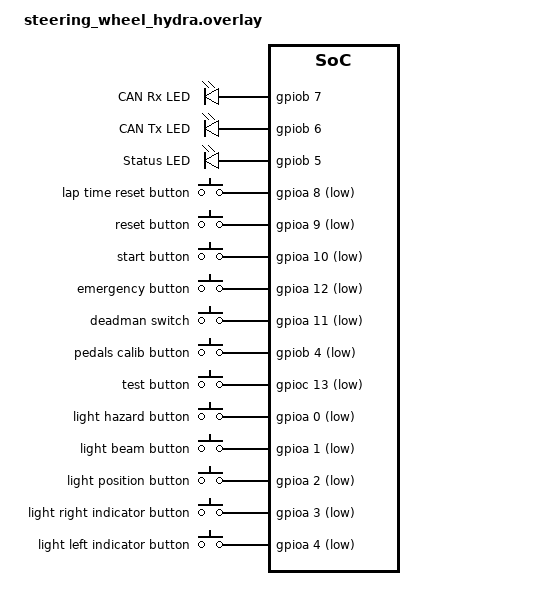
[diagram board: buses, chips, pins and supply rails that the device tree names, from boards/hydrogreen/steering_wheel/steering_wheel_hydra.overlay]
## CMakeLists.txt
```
cmake_minimum_required(VERSION 3.20.0)

if(NOT DEFINED BOARD)
    set(BOARD steering_wheel CACHE STRING "Zephyr target board")
    message(STATUS "BOARD not defined externally, using default: ${BOARD}")
endif()

if(NOT DEFINED BOARD_ROOT)
    set(BOARD_ROOT ${CMAKE_CURRENT_SOURCE_DIR} CACHE PATH "Root directory for custom boards")
    message(STATUS "BOARD_ROOT not defined externally, using default: ${BOARD_ROOT}")
endif()

set(VEHICLE_TYPE "hydra" CACHE STRING "Steering wheel hardware variant")

if(VEHICLE_TYPE STREQUAL "hydra")
    set(DTC_OVERLAY_FILE
            "${CMAKE_CURRENT_SOURCE_DIR}/boards/hydrogreen/steering_wheel/steering_wheel_hydra.overlay"
    )
    set(VEHICLE_TYPE_DEFINE HYDRA)
elseif(VEHICLE_TYPE STREQUAL "hydros")
    set(DTC_OVERLAY_FILE
            "${CMAKE_CURRENT_SOURCE_DIR}/boards/hydrogreen/steering_wheel/steering_wheel_hydros.overlay"
    )
    set(VEHICLE_TYPE_DEFINE HYDROS)
else()
    message(FATAL_ERROR "Unknown VEHICLE_TYPE: ${VEHICLE_TYPE}")
endif()

find_package(Zephyr REQUIRED HINTS $ENV{ZEPHYR_BASE})
project(app LANGUAGES C)

zephyr_compile_definitions(
        VEHICLE_TYPE=${VEHICLE_TYPE_DEFINE}
        LV_FONT_MONTSERRAT_18=1
        LV_FONT_MONTSERRAT_26=1
        LV_FONT_MONTSERRAT_30=1
)

target_sources(app PRIVATE
        src/main.c
        src/steering_wheel_inputs.c
        src/steering_wheel_can.c
        src/steering_wheel_display.c
        ${CMAKE_SOURCE_DIR}/../modules/peripherals/can.c
#        peripherals/can_dfu.c
        ${CMAKE_SOURCE_DIR}/../modules/peripherals/gpio.c
        ${CMAKE_SOURCE_DIR}/../modules/peripherals/adc.c
        ${CMAKE_SOURCE_DIR}/../modules/peripherals/pwm.c
        ${CMAKE_SOURCE_DIR}/../modules/peripherals/counter.c
        ${CMAKE_SOURCE_DIR}/../modules/peripherals/uart.c
        ${CMAKE_SOURCE_DIR}/../modules/peripherals/rs485.c
        ${CMAKE_SOURCE_DIR}/../modules/peripherals/status_led.c
        ${CMAKE_SOURCE_DIR}/../modules/can-definitions/candef.c
        ui/ui.c
        ui/screens.c
        ui/styles.c
)

target_include_directories(app PRIVATE
        ${CMAKE_SOURCE_DIR}/../modules/can-definitions
        ${CMAKE_SOURCE_DIR}/../modules/peripherals
        ${CMAKE_SOURCE_DIR}/../modules/peripherals/include
        src
        ui
)
```

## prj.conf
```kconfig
# Project specific config
CONFIG_GPIO=y
CONFIG_LED=y
CONFIG_CAN=y
CONFIG_CAN_FD_MODE=n
CONFIG_CAN_MANUAL_RECOVERY_MODE=y
CONFIG_DMA=y
CONFIG_SPI=y
CONFIG_DISPLAY=y
CONFIG_LVGL=y
CONFIG_LV_Z_MEM_POOL_SIZE=32768
CONFIG_ILI9341=y
CONFIG_LV_COLOR_DEPTH_16=y
CONFIG_LV_COLOR_16_SWAP=y
CONFIG_INPUT=y
CONFIG_INPUT_GPIO_KEYS=y
CONFIG_INPUT_LONGPRESS=y

CONFIG_NANOPB=y

# System settings
CONFIG_HEAP_MEM_POOL_SIZE=16384
CONFIG_MAIN_STACK_SIZE=4096

# Debugging, tracing and logging settings
CONFIG_SERIAL=y
CONFIG_LOG=y
CONFIG_LOG_MODE_IMMEDIATE=y
CONFIG_LOG_DEFAULT_LEVEL=3
CONFIG_LOG_BACKEND_RTT=y
CONFIG_USE_SEGGER_RTT=y
CONFIG_SEGGER_RTT_BUFFER_SIZE_UP=16384
CONFIG_LOG_BACKEND_RTT_MODE_DROP=y

# CONFIG_TRACING=y
# CONFIG_TRACING_BACKEND_RAM=y
# CONFIG_TRACING_GPIO=n
# CONFIG_TRACING_SYSCALL=y
CONFIG_SEGGER_SYSTEMVIEW=n
CONFIG_SEGGER_SYSTEMVIEW_BOOT_ENABLE=n
CONFIG_SEGGER_SYSVIEW_POST_MORTEM_MODE=n

CONFIG_DEBUG=y
CONFIG_DEBUG_OPTIMIZATIONS=y
CONFIG_THREAD_ANALYZER=y
CONFIG_THREAD_NAME=y

# CONFIG_CONSOLE=y
# CONFIG_UART_CONSOLE=y
# CONFIG_LOG_PRINTK=y
# CONFIG_PRINTK=y
# CONFIG_LOG_BACKEND_SWO=y
# CONFIG_LOG_BUFFER_SIZE=2048
# CONFIG_LOG_MODE_DEFERRED=y
# CONFIG_LOG_BACKEND_UART=n
# CONFIG_STDOUT_CONSOLE=y
```

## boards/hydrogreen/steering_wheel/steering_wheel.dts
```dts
/dts-v1/;
#include <st/g4/stm32g491Xe.dtsi>
#include <st/g4/stm32g491c(c-e)tx-pinctrl.dtsi>
#include <zephyr/dt-bindings/display/panel.h>
#include <zephyr/dt-bindings/mipi_dbi/mipi_dbi.h>
#include <zephyr/dt-bindings/led/led.h>
#include <zephyr/dt-bindings/input/input-event-codes.h>

/ {
	model = "Hydrogreen Steering wheel board";
	compatible = "hydrogreen,steering-wheel";

	aliases {
		can-rx-led = &can_rx_led;
		can-tx-led = &can_tx_led;
		can = &fdcan2;
		button-emergency = &button_emergency;
		button-start = &button_start;
		button-reset = &button_reset;
		button-lap-time = &button_lap_time;
		button-deadman = &button_deadman;
		button-test = &button_test;
		watchdog0 = &iwdg;
		die-temp0 = &die_temp;
		volt-sensor0 = &vref;
		volt-sensor1 = &vbat;
	};

	chosen {
		zephyr,display = &ili9341;
		zephyr,sram = &sram0;
		zephyr,flash = &flash0;
		zephyr,canbus = &fdcan2;
		zephyr,code-partition = &slot0_partition;
	};

	mipi_dbi {
		compatible = "zephyr,mipi-dbi-spi";
		spi-dev = <&spi1>;
		dc-gpios = <&gpiob 2 GPIO_ACTIVE_HIGH>;
		reset-gpios = <&gpiob 1 GPIO_ACTIVE_LOW>;
		write-only;
		#address-cells = <1>;
		#size-cells = <0>;
		status = "okay";

		ili9341: ili9341@0 {
			compatible = "ilitek,ili9341";
			mipi-max-frequency = <24000000>;
			reg = <0>;
			pixel-format = <PANEL_PIXEL_FORMAT_RGB_565>;
			//display-inversion;
			rotation = <270>;
			width = <240>;
			height = <320>;

			status = "okay";

		};
	};
};


&gpioa {
	status = "okay";
};

&gpiob {
	status = "okay";
};


&clk_lsi {
	status = "okay";
};

&clk_hsi48 {
	status = "okay";
};

//&clk_hse {
//	clock-frequency = <DT_FREQ_M(24)>;
//	status = "okay";
//};

&clk_hsi {
	//	clock-frequency = <DT_FREQ_M(16)>;
	status = "okay";
};

&pll {
	div-m = <1>;
	mul-n = <10>;
	div-p = <2>;
	div-q = <2>;
	div-r = <2>;
	clocks = <&clk_hsi>;
	status = "okay";
};

&rcc {
	clocks = <&pll>;
	clock-frequency = <DT_FREQ_M(80)>;
	ahb-prescaler = <1>;
	apb1-prescaler = <1>;
	apb2-prescaler = <1>;
};

// reference manual page 420 (dmamux)
//&usart1 {
//	pinctrl-0 = <&usart1_tx_pa9 &usart1_rx_pa10>;
//	pinctrl-names = "default";
//	current-speed = <115200>;
//	status = "okay";
//	dmas = <&dmamux1 2 25 STM32_DMA_PERIPH_TX>,
//		   <&dmamux1 1 24 STM32_DMA_PERIPH_RX>;
//	dma-names = "tx", "rx";
//};

&dma1 {
	status = "okay";
};

&dmamux1 {
	status = "okay";
};

&spi1 {
	pinctrl-0 = <&spi1_sck_pa5 &spi1_miso_pa6 &spi1_mosi_pa7>;
	pinctrl-names = "default";
	cs-gpios = <&gpiob 0 (GPIO_ACTIVE_LOW | GPIO_PULL_UP)>;

	dmas = <&dma1 1 11 (STM32_DMA_PERIPH_TX | STM32_DMA_PRIORITY_HIGH)>,
		   <&dma1 2 10 (STM32_DMA_PERIPH_RX | STM32_DMA_PRIORITY_HIGH)>;
	dma-names = "tx", "rx";

	status = "okay";
//
//	ili9341: display@0 {
//		compatible = "ilitek,ili9341";
//		reg = <0>;
//
//		spi-max-frequency = <24000000>;
//		mipi-max-frequency = <24000000>;
//		mipi-mode = "MIPI_DBI_MODE_SPI_4WIRE";
//
//		duplex = <0>;
//		frame-format = <0>;
//
//		width = <240>;
//		height = <320>;
//		pixel-format = <PANEL_PIXEL_FORMAT_RGB_565>;
//
//		cmd-data-gpios = <&gpiob 2 GPIO_ACTIVE_HIGH>;
//		reset-gpios = <&gpiob 1 GPIO_ACTIVE_LOW>;
//
//		rotation = <90>;
//		display-inversion;
//		status = "okay";
//	};
};

//&timers2 {
//	status = "okay";
//
//	pwm2: pwm {
//		status = "okay";
//		pinctrl-0 = <&tim2_ch1_pa5>;
//		pinctrl-names = "default";
//	};
//};
//
//&timers3 {
//	st,prescaler = <10000>;
//	status = "okay";
//	pwm3: pwm {
//		status = "okay";
//		pinctrl-0 = <&tim3_ch1_pb4>;
//		pinctrl-names = "default";
//	};
//};

&lptim1 {
	clocks = <&rcc STM32_CLOCK_BUS_APB1 0x80000000>,
			 <&rcc STM32_SRC_LSI LPTIM1_SEL(1)>;
	status = "okay";
};

&rtc {
	clocks = <&rcc STM32_CLOCK_BUS_APB1 0x00000400>,
			 <&rcc STM32_SRC_LSI RTC_SEL(2)>;
	status = "okay";
};

&flash0 {
	erase-block-size = <2048>;
	partitions {
		compatible = "fixed-partitions";
		#address-cells = <1>;
		#size-cells = <1>;

		boot_partition: partition@0 {
			label = "mcuboot";
			reg = <0x00000000 DT_SIZE_K(40)>;
		};
		slot0_partition: partition@a000 {
			label = "image-0";
			reg = <0x0000a000 DT_SIZE_K(234)>;
		};
		slot1_partition: partition@44800 {
			label = "image-1";
			reg = <0x00044800 DT_SIZE_K(234)>;
		};
		/* Set 4Kb of storage at the end of the 512Kb of flash */
		storage_partition: partition@7f000 {
			label = "storage";
			reg = <0x0007f000 DT_SIZE_K(4)>;
		};
	};
};

&iwdg {
	status = "okay";
};

&rng {
	status = "okay";
};


&die_temp {
	status = "okay";
};

//&fdcan1 {
//	clocks = <&rcc STM32_CLOCK_BUS_APB1 0x02000000>,
//			 <&rcc STM32_SRC_HSE FDCAN_SEL(0)>;
//	pinctrl-0 = <&fdcan1_rx_pa11 &fdcan1_tx_pa12>;
//	pinctrl-names = "default";
//	status = "okay";
//};

&fdcan2 {
	clocks = <&rcc STM32_CLOCK_BUS_APB1 0x02000000>,
			 <&rcc STM32_SRC_PLL_Q FDCAN_SEL(1)>;
	pinctrl-0 = <&fdcan2_rx_pb12 &fdcan2_tx_pb13>;
	pinctrl-names = "default";
	status = "okay";
};

&vref {
	status = "okay";
};

&vbat {
	status = "okay";
};
```

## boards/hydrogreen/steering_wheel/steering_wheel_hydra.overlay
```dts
/ {
	aliases {
		status-led = &status_led;
		button-pedals-calib = &button_pedals_calib;
		button-light-hazard = &button_light_hazard;
		button-light-beam = &button_light_beam;
		button-light-position = &button_light_position;
		button-light-right-indicator = &button_light_right_indicator;
		button-light-left-indicator = &button_light_left_indicator;
	};

	leds {
		compatible = "gpio-leds";
		can_rx_led: led_pb7 {
			gpios = <&gpiob 7 GPIO_ACTIVE_HIGH>;
			label = "CAN Rx LED";
		};
		can_tx_led: led_pb6 {
			gpios = <&gpiob 6 GPIO_ACTIVE_HIGH>;
			label = "CAN Tx LED";
		};
		status_led: led_pb5 {
			gpios = <&gpiob 5 GPIO_ACTIVE_HIGH>;
			label = "Status LED";
		};
	};

	buttons: buttons {
		compatible = "gpio-keys";
		debounce-interval-ms = <30>;
		button_lap_time: button_pa8 {
			gpios = <&gpioa 8 (GPIO_ACTIVE_LOW | GPIO_PULL_UP)>;
			label = "lap time reset button";
			zephyr,code = <INPUT_KEY_0>;
		};
		button_reset: button_pa9 {
			gpios = <&gpioa 9 (GPIO_ACTIVE_LOW | GPIO_PULL_UP)>;
			label = "reset button";
			zephyr,code = <INPUT_KEY_1>;
		};
		button_start: button_pa10 {
			gpios = <&gpioa 10 (GPIO_ACTIVE_LOW | GPIO_PULL_UP)>;
			label = "start button";
			zephyr,code = <INPUT_KEY_2>;
		};
		button_emergency: button_pa12 {
			gpios = <&gpioa 12 (GPIO_ACTIVE_LOW | GPIO_PULL_UP)>;
			label = "emergency button";
			zephyr,code = <INPUT_KEY_3>;
		};
		button_deadman: button_pa11 {
			gpios = <&gpioa 11 (GPIO_ACTIVE_LOW | GPIO_PULL_UP)>;
			label = "deadman switch";
			zephyr,code = <INPUT_KEY_4>;
		};
		button_pedals_calib: button_pb4 {
			gpios = <&gpiob 4 (GPIO_ACTIVE_LOW | GPIO_PULL_UP)>;
			label = "pedals calib button";
			zephyr,code = <INPUT_KEY_5>;
		};
		/* test button - already connected on pcb */
		button_test: button_pc13 {
			gpios = <&gpioc 13 (GPIO_ACTIVE_LOW | GPIO_PULL_UP)>;
			label = "test button";
			zephyr,code = <INPUT_KEY_6>;
		};
	};

	buttons_lights: buttons_lights{
		compatible = "gpio-keys";
		debounce-interval-ms = <30>;
		button_light_hazard: button_pa0 {
			gpios = <&gpioa 0 (GPIO_ACTIVE_LOW | GPIO_PULL_UP)>;
			label = "light hazard button";
			zephyr,code = <INPUT_KEY_7>;
		};
		button_light_beam: button_pa1 {
			gpios = <&gpioa 1 (GPIO_ACTIVE_LOW | GPIO_PULL_UP)>;
			label = "light beam button";
			zephyr,code = <INPUT_KEY_8>;
		};
		button_light_position: button_pa2 {
			gpios = <&gpioa 2 (GPIO_ACTIVE_LOW | GPIO_PULL_UP)>;
			label = "light position button";
			zephyr,code = <INPUT_KEY_9>;
		};
		button_light_right_indicator: button_pa3 {
			gpios = <&gpioa 3 (GPIO_ACTIVE_LOW | GPIO_PULL_UP)>;
			label = "light right indicator button";
			zephyr,code = <INPUT_KEY_B>;
		};
		button_light_left_indicator: button_pa4 {
			gpios = <&gpioa 4 (GPIO_ACTIVE_LOW | GPIO_PULL_UP)>;
			label = "light left indicator button";
			zephyr,code = <INPUT_KEY_C>;
		};
	};

	longpress {
		compatible = "zephyr,input-longpress";
		input = <&buttons>;
		input-codes = <INPUT_KEY_0>;
		short-codes = <INPUT_KEY_A>;
		long-codes = <INPUT_KEY_X>;
		long-delay-ms = <2000>;
	};
};

&ili9341 {
	rotation = <90>;
};
```

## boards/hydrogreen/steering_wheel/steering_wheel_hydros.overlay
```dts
/ {
	leds {
		compatible = "gpio-leds";

		can_rx_led: led_pb9 {
			gpios = <&gpiob 9 GPIO_ACTIVE_HIGH>;
			label = "CAN Rx LED";
		};

		can_tx_led: led_pb10 {
			gpios = <&gpiob 10 GPIO_ACTIVE_HIGH>;
			label = "CAN Tx LED";
		};
	};

	buttons: buttons {
		compatible = "gpio-keys";
		debounce-interval-ms = <30>;

		/* time */
		button_lap_time: button_pa8 {
			gpios = <&gpioa 8 (GPIO_ACTIVE_LOW | GPIO_PULL_UP)>;
			label = "lap time reset button";
			zephyr,code = <INPUT_KEY_0>;
		};
		/* sc close */
		button_reset: button_pa3 {
			gpios = <&gpioa 3 (GPIO_ACTIVE_LOW | GPIO_PULL_UP)>;
			label = "reset button";
			zephyr,code = <INPUT_KEY_1>;
		};
		/* supply */
		button_start: button_pa2 {
			gpios = <&gpioa 2 (GPIO_ACTIVE_LOW | GPIO_PULL_UP)>;
			label = "start button";
			zephyr,code = <INPUT_KEY_2>;
		};
		/* mode1 */
		button_emergency: button_pa0 {
			gpios = <&gpioa 0 (GPIO_ACTIVE_LOW | GPIO_PULL_UP)>;
			label = "emergency button";
			zephyr,code = <INPUT_KEY_3>;
		};
		/* full gas */
		button_deadman: button_pa9 {
			gpios = <&gpioa 9 (GPIO_ACTIVE_LOW | GPIO_PULL_UP)>;
			label = "deadman switch";
			zephyr,code = <INPUT_KEY_4>;
		};

		/* test button - already connected on pcb */
		button_test: button_pc13 {
			gpios = <&gpioc 13 (GPIO_ACTIVE_LOW | GPIO_PULL_UP)>;
			label = "test button";
			zephyr,code = <INPUT_KEY_6>;
		};
	};

	longpress {
		compatible = "zephyr,input-longpress";
		input = <&buttons>;
		input-codes = <INPUT_KEY_0>;
		short-codes = <INPUT_KEY_A>;
		long-codes = <INPUT_KEY_X>;
		long-delay-ms = <2000>;
	};
};
```

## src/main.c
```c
#include <errno.h>
#include <string.h>
#include <zephyr/logging/log.h>
#include <zephyr/kernel.h>
#include <zephyr/device.h>
#include <zephyr/drivers/spi.h>
#include <zephyr/sys/util.h>

#include "steering_wheel_inputs.h"
#include "steering_wheel_display.h"
#include "steering_wheel_can.h"

LOG_MODULE_REGISTER(main);

int main(void)
{
    swu_inputs_init();
    swu_can_init();
    swu_display_init();
    return 0;
}
```

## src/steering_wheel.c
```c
//
// Created by User on 28.12.2025.
//

#include "steering_wheel.h"

LOG_MODULE_REGISTER(steering_wheel_unit);

static void input_cb(struct input_event *evt, void *user_data)
{
    ARG_UNUSED(user_data);

    if (evt->type != INPUT_EV_KEY || evt->value != 1) {
        return;
    }

	switch (evt->code) {
	 //case INPUT_KEY_0:
		//LOG_INF("time reset press");
		//break;
    case INPUT_KEY_A:
		LOG_INF("short press");
        time_measurement_request = START;
		break;
	case INPUT_KEY_X:
		LOG_INF("long press");
        time_measurement_request = RESET_;
    	break;
	default:
		break;
	}
}

INPUT_CALLBACK_DEFINE(NULL, input_cb, NULL);



/*int steering_wheel_init(){
    const struct device *display_dev = DEVICE_DT_GET(DT_CHOSEN(zephyr_display));

    if (!device_is_ready(display_dev)) {
        LOG_INF("Display nie jest gotowy");
        return 0;
    }
	LOG_INF("steering_wheel_init");

    display_blanking_off(display_dev);
	ui_init();
	lv_timer_create(ui_timer_cb, 100, NULL);


    while (1) {

        if(time_measurement_request == START){
            next_lap_time_measurement();
            time_measurement_request = IDLE;
        }
        if(time_measurement_request == RESET_){
            reset_time_measurements();
            time_measurement_request = IDLE;
        }
        lv_timer_handler();
        k_msleep(10);
    }

}*/
```

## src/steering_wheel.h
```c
//
// Created by User on 28.12.2025.
//

#ifndef STEERING_WHEEL_H
#define STEERING_WHEEL_H

#include <zephyr/kernel.h>
#include <zephyr/device.h>
#include <zephyr/logging/log.h>
#include <zephyr/drivers/display.h>
#include <zephyr/input/input.h>
#include <zephyr/dt-bindings/input/input-event-codes.h>
#include <lvgl.h>
#include "gpio.h"
#include "can.h"
#include "can_ids.h"
#include "ui.h"
#include "steering_wheel_display.h"


int steering_wheel_init();

#endif //STEERING_WHEEL_H
```

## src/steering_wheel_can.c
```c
//
// Created by Dawid Pisarczyk on 21.03.2026.
//

#include "steering_wheel_can.h"

LOG_MODULE_REGISTER(swu_can, LOG_LEVEL_INF);

#define SWU_CAN_TX_THREAD_STACK_SIZE                   2048
#define SWU_CAN_TX_THREAD_PRIORITY                     5
#define SWU_CAN_PROCESS_RX_DATA_THREAD_STACK_SIZE      2048
#define SWU_CAN_PROCESS_RX_DATA_THREAD_PRIORITY        5
#define SWU_CAN_HEARTBEAT_MS                           500
#define SWU_STATUS_TIME_MAX_MS                         0xFFFFFFu
#define SWU_STATUS_LAP_NUMBER_MAX                      0xFFu

K_THREAD_STACK_DEFINE(swu_can_tx_thread_stack_area, SWU_CAN_TX_THREAD_STACK_SIZE);
K_THREAD_STACK_DEFINE(swu_can_process_rx_data_thread_stack_area, SWU_CAN_PROCESS_RX_DATA_THREAD_STACK_SIZE);

struct k_thread swu_can_tx_thread_data;
struct k_thread swu_can_process_rx_data_thread_data;

K_SEM_DEFINE(can_tx_done_sem, 0, 1);
K_SEM_DEFINE(can_tx_request_sem, 0, 1);
//K_MSGQ_DEFINE(can_tx_msgq, sizeof(struct can_frame), 32, 4);
K_MSGQ_DEFINE(can_rx_msgq, sizeof(struct can_frame), 32, 4);
struct k_mutex can_data_mutex;

volatile int can_tx_result;
struct k_work_delayable tx_led_off_work;
static struct k_work_delayable rx_led_off_work;
static struct k_work_delayable bus_off_recovery_work;

struct can_filter swu_can_filter[] = {
    //CAN_FILTER_EXT(CANDEF_MCU_ANALOG_POWERTRAIN_FRAME_ID),
    CAN_FILTER_EXT(CANDEF_MCU_ANALOG_FUEL_CELL_FRAME_ID),
    CAN_FILTER_EXT(CANDEF_MCU_ANALOG_DRIVE_FRAME_ID),
    CAN_FILTER_EXT(CANDEF_MCU_FAULTS_FRAME_ID),
};

swu_can_t can = {
    .device = DEVICE_DT_GET(DT_ALIAS(can)),
    .rx_led = GPIO_DT_SPEC_GET(DT_ALIAS(can_rx_led), gpios),
    .tx_led = GPIO_DT_SPEC_GET(DT_ALIAS(can_tx_led), gpios),
};

static void swu_can_tx_callback(const struct device *dev, int error, void *user_data);

static uint8_t saturate_u8(uint32_t value, uint8_t max)
{
    return value > max ? max : (uint8_t)value;
}

static uint32_t saturate_u24(uint64_t value)
{
    return value > SWU_STATUS_TIME_MAX_MS ? SWU_STATUS_TIME_MAX_MS : (uint32_t)value;
}

static int send_swu_frame(uint32_t id, uint8_t dlc, const uint8_t *data)
{
    struct can_frame frame = {
        .id = id,
        .dlc = dlc,
        .flags = CAN_FRAME_IDE,
    };

    memcpy(frame.data, data, dlc);

    return can_send(can.device, &frame, K_MSEC(100), swu_can_tx_callback, NULL);
}

static void drain_tx_requests()
{
    while (k_sem_take(&can_tx_request_sem, K_NO_WAIT) == 0) {
    }
}

static void tx_led_off_handler(struct k_work *work) { gpio_reset(&can.tx_led); }
static void rx_led_off_handler(struct k_work *work) { gpio_reset(&can.rx_led); }

static void swu_can_rx_callback(const struct device *dev, struct can_frame *frame, void *user_data) {
    ARG_UNUSED(dev);
    ARG_UNUSED(user_data);

    gpio_set(&can.rx_led);
    k_work_reschedule(&rx_led_off_work, K_MSEC(50));

    LOG_INF("CAN ID: 0x%03X", frame->id);

    k_msgq_put(&can_rx_msgq, frame, K_NO_WAIT);
}

static void bus_off_recovery_handler(struct k_work *work) {
    int ret = can_recover(can.device, K_MSEC(100));
    if (ret != 0 && ret != -ENOTSUP) {
        LOG_WRN("CAN recovery failed (%d), retrying in 1s", ret);
        k_work_reschedule(&bus_off_recovery_work, K_SECONDS(1));
    } else {
        LOG_INF("CAN bus recovered");
        // status_led_set(STATUS_LED_OPERATIONAL);
    }
}

void swu_can_request_tx()
{
    k_sem_give(&can_tx_request_sem);
}

int can_send_swu_status()
{
    enum can_state can_state = CAN_STATE_STOPPED;
    struct candef_swu_status_t swu_status = { 0 };
    uint8_t data[CANDEF_SWU_STATUS_LENGTH] = { 0 };
    int ret;

    ret = can_get_state(can.device, &can_state, NULL);
    swu_status.can_state = ret < 0 ? UINT8_MAX : (uint8_t)can_state;
    swu_status.lap_number = saturate_u8(lap_counter, SWU_STATUS_LAP_NUMBER_MAX);
    swu_status.lap_time_ms = saturate_u24(time_g.current_lap_ms);
    swu_status.total_time_ms = saturate_u24(time_g.total_ms);

    ret = candef_swu_status_pack(data, &swu_status, sizeof(data));
    if (ret < 0) {
        return ret;
    }

    return send_swu_frame(CANDEF_SWU_STATUS_FRAME_ID, CANDEF_SWU_STATUS_LENGTH, data);
}

int can_send_swu_mcu_inputs()
{
    struct candef_swu_mcu_inputs_t swu_mcu_inputs = { 0 };
    uint8_t data[CANDEF_SWU_MCU_INPUTS_LENGTH] = { 0 };
    int ret;

    k_mutex_lock(&mcu_inputs_mutex, K_FOREVER);
    swu_mcu_inputs = mcu_inputs_state;
    k_mutex_unlock(&mcu_inputs_mutex);

    ret = candef_swu_mcu_inputs_pack(data, &swu_mcu_inputs, sizeof(data));
    if (ret < 0) {
        return ret;
    }

    return send_swu_frame(CANDEF_SWU_MCU_INPUTS_FRAME_ID, CANDEF_SWU_MCU_INPUTS_LENGTH, data);
}

int can_send_swu_lcu_inputs()
{
    struct candef_swu_lcu_inputs_t swu_lcu_inputs = { 0 };
    uint8_t data[CANDEF_SWU_LCU_INPUTS_LENGTH] = { 0 };
    int ret;

    k_mutex_lock(&mcu_inputs_mutex, K_FOREVER);
    swu_lcu_inputs = lcu_inputs_state;
    k_mutex_unlock(&mcu_inputs_mutex);

    ret = candef_swu_lcu_inputs_pack(data, &swu_lcu_inputs, sizeof(data));
    if (ret < 0) {
        return ret;
    }

    return send_swu_frame(CANDEF_SWU_LCU_INPUTS_FRAME_ID, CANDEF_SWU_LCU_INPUTS_LENGTH, data);
}

static void swu_can_tx_thread(void *p1, void *p2, void *p3) {

    ARG_UNUSED(p1);
    ARG_UNUSED(p2);
    ARG_UNUSED(p3);
    //struct can_frame frame = {0};
    LOG_INF("SWU CAN heartbeat transmit thread started");

    while (1) {
        //k_msgq_get(&can_tx_msgq, &frame, K_FOREVER);
        read_all_buttons_from_gpio();

        int ret = can_send_swu_status();
        if (ret < 0) {
            LOG_ERR("SWU_STATUS CAN send failed: %d", ret);
        }

        ret = can_send_swu_mcu_inputs();
        if (ret < 0) {
            LOG_ERR("SWU_MCU_INPUTS CAN send failed: %d", ret);
        }

        ret = can_send_swu_lcu_inputs();
        if (ret < 0) {
            LOG_ERR("SWU_LCU_INPUTS CAN send failed: %d", ret);
        }
        LOG_INF("SWU heartbeat frames sent via CAN successfully");
        gpio_set(&can.tx_led);
        k_work_reschedule(&tx_led_off_work, K_MSEC(50));

        drain_tx_requests();
        k_sem_take(&can_tx_request_sem, K_MSEC(SWU_CAN_HEARTBEAT_MS));
    }
}

static void swu_can_tx_callback(const struct device *dev, int error, void *user_data) {
    can_tx_result = error;
    k_sem_give(&can_tx_done_sem);
}

static void process_can_frame(const struct can_frame *frame)
{
    switch (frame->id) {
    case CANDEF_MCU_ANALOG_DRIVE_FRAME_ID: {
        if (frame->dlc >= CANDEF_MCU_ANALOG_DRIVE_LENGTH) {
            struct candef_mcu_analog_drive_t dst_p;
            candef_mcu_analog_drive_unpack(&dst_p, frame->data, frame->dlc);

            k_mutex_lock(&can_data_mutex, K_FOREVER);
            display_data.speed_kph = dst_p.speed;
            k_mutex_unlock(&can_data_mutex);
        }
        break;
    }

    case CANDEF_MCU_ANALOG_FUEL_CELL_FRAME_ID: {
        if (frame->dlc >= CANDEF_MCU_ANALOG_FUEL_CELL_LENGTH) {
           struct candef_mcu_analog_fuel_cell_t dst_p;
            candef_mcu_analog_fuel_cell_unpack(&dst_p, frame->data, frame->dlc);

            k_mutex_lock(&can_data_mutex, K_FOREVER);
            display_data.sc_voltage = dst_p.fuel_cell_output_voltage;
            k_mutex_unlock(&can_data_mutex);
        }
        break;
    }
    case CANDEF_MCU_FAULTS_FRAME_ID: {
       if (frame->dlc >= CANDEF_MCU_FAULTS_LENGTH) {
           struct candef_mcu_faults_t dst_p;
           candef_mcu_faults_unpack(&dst_p, frame->data, frame->dlc);

           k_mutex_lock(&can_data_mutex, K_FOREVER);
           display_data.mcu_faults = dst_p;
           k_mutex_unlock(&can_data_mutex);
       }
       break;
    }

    default:
       break;
    }
}

static void swu_can_process_rx_data_thread(void *p1, void *p2, void *p3) {
    ARG_UNUSED(p1);
    ARG_UNUSED(p2);
    ARG_UNUSED(p3);
    LOG_INF("CAN process frames thread started");

    struct can_frame frame;
    while (1) {
        if (k_msgq_get(&can_rx_msgq, &frame, K_FOREVER) == 0) {
            process_can_frame(&frame);
        }
    }
}

void swu_can_init() {
    can_init(can.device, HYDROGREEN_CAN_BAUD_RATE);
    gpio_init(&can.rx_led, GPIO_OUTPUT_INACTIVE);
    gpio_init(&can.tx_led, GPIO_OUTPUT_INACTIVE);
    k_work_init_delayable(&tx_led_off_work, tx_led_off_handler);
    k_work_init_delayable(&rx_led_off_work, rx_led_off_handler);
    k_work_init_delayable(&bus_off_recovery_work, bus_off_recovery_handler);

    for(size_t i = 0; i < ARRAY_SIZE(swu_can_filter); i++) {
        can_add_rx_filter_(can.device, swu_can_rx_callback, &swu_can_filter[i]);
    }

    k_mutex_init(&can_data_mutex);

    k_tid_t can_tx_tid = k_thread_create(
        &swu_can_tx_thread_data,
        swu_can_tx_thread_stack_area,
        K_THREAD_STACK_SIZEOF(swu_can_tx_thread_stack_area),
        swu_can_tx_thread,
        NULL,
        NULL,
        NULL,
        SWU_CAN_TX_THREAD_PRIORITY,
        0,
        K_NO_WAIT);

    k_thread_name_set(can_tx_tid, "can_tx");

    k_tid_t can_process_rx_data_tid = k_thread_create(
        &swu_can_process_rx_data_thread_data,
        swu_can_process_rx_data_thread_stack_area,
        K_THREAD_STACK_SIZEOF(swu_can_process_rx_data_thread_stack_area),
        swu_can_process_rx_data_thread,
        NULL,
        NULL,
        NULL,
        SWU_CAN_PROCESS_RX_DATA_THREAD_PRIORITY,
        0,
        K_NO_WAIT);

    k_thread_name_set(can_process_rx_data_tid, "can_process_rx_data");
}
```

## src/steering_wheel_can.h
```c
//
// Created by Dawid Pisarczyk on 21.03.2026.
//

#ifndef STEERING_WHEEL_CAN_H
#define STEERING_WHEEL_CAN_H

#include <stdint.h>
#include <zephyr/kernel.h>
#include <zephyr/device.h>
#include <zephyr/logging/log.h>
#include "gpio.h"
#include "can.h"
#include "can_ids.h"
#include "candef.h"
#include "steering_wheel_display.h"
#include "steering_wheel_inputs.h"

typedef struct {
    const struct device *device;
    struct gpio_dt_spec tx_led;
    struct gpio_dt_spec rx_led;
}swu_can_t;

extern struct k_mutex can_data_mutex;
extern struct k_sem can_tx_done_sem;
extern volatile int can_tx_result;
extern struct k_work_delayable tx_led_off_work;

extern swu_can_t can;

void swu_can_init();
void swu_can_request_tx();
int can_send_swu_status();
int can_send_swu_mcu_inputs();
int can_send_swu_lcu_inputs();


#endif //STEERING_WHEEL_CAN_H
```

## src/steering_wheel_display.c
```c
//
// Created by Dawid Pisarczyk on 02.04.2026.
//

#include "steering_wheel_display.h"

#include <zephyr/drivers/mipi_dbi.h>

LOG_MODULE_REGISTER(steering_wheel_display);

#define OK_COLOR    0x00ff00
#define ERROR_COLOR 0xff0000

#define SWU_DISPLAY_THREAD_STACK_SIZE      4096
#define SWU_DISPLAY_THREAD_PRIORITY        5

#define ILI9341_CMD_MADCTL 0x36
#define ILI9341_MADCTL_MY  BIT(7)
#define ILI9341_MADCTL_MX  BIT(6)
#define ILI9341_MADCTL_MV  BIT(5)

#define SWU_DISPLAY_NODE DT_NODELABEL(ili9341)

static const struct device *display_dbi = DEVICE_DT_GET(DT_PARENT(SWU_DISPLAY_NODE));
static const struct mipi_dbi_config display_dbi_config = {
    .mode = DT_STRING_UPPER_TOKEN_OR(SWU_DISPLAY_NODE, mipi_mode, MIPI_DBI_MODE_SPI_4WIRE),
    .config = MIPI_DBI_SPI_CONFIG_DT(SWU_DISPLAY_NODE, SPI_OP_MODE_MASTER | SPI_WORD_SET(8), 0),
};

K_THREAD_STACK_DEFINE(swu_display_thread_stack_area, SWU_DISPLAY_THREAD_STACK_SIZE);
struct k_thread swu_display_thread_data;

uint32_t lap_counter = 0;
time_t time_g = { 0 };
display_data_t display_data = { 0 };
volatile time_measurement_request_t time_measurement_request = IDLE;

static inline lv_color_t my_color_hex(uint32_t hex)
{
    uint32_t r = (hex >> 16) & 0xFF;
    uint32_t g = (hex >> 8)  & 0xFF;
    uint32_t b = hex & 0xFF;

    return lv_color_hex((b << 16) | (g << 8) | r);
}

static const char *mcu_faults_get_message(const struct candef_mcu_faults_t *f)
{
    if (f->emergency_switch) return "EMERGENCY SWITCH PRESSED";
    if (f->emergency_dead_mans_switch) return "DEAD MAN";
    if (f->emergency_leakage_detected) return "H2 LEAKAGE DETECTED";

    if (f->error_fc_v_low) return "FC VOLTAGE TOO LOW";
    if (f->error_fc_v_high) return "FC VOLTAGE TOO HIGH";
    if (f->error_fc_c_low) return "FC CURRENT TOO LOW";
    if (f->error_fc_c_high) return "FC CURRENT TOO HIGH";

    if (f->error_sc_v_low) return "SC VOLTAGE TOO LOW";
    if (f->error_sc_v_high) return "SC VOLTAGE TOO HIGH";
    if (f->error_sc_c_low) return "SC CURRENT TOO LOW";
    if (f->error_sc_c_high) return "SC CURRENT TOO HIGH";

    if (f->error_mc_v_low) return "MC VOLTAGE TOO LOW";
    if (f->error_mc_v_high) return "MC VOLTAGE TOO HIGH";
    if (f->error_mc_c_low) return "MC CURRENT TOO LOW";
    if (f->error_mc_c_high) return "MC CURRENT TOO HIGH";

    if (f->error_ab_v_low) return "AB VOLTAGE TOO LOW";
    if (f->error_ab_v_high) return "AB VOLTAGE TOO HIGH";
    if (f->error_ab_c_low) return "AB CURRENT TOO LOW";
    if (f->error_ab_c_high) return "AB CURRENT TOO HIGH";

    return NULL;
}

static void format_mmss(char *buf, size_t len, uint64_t total_sec)
{
    //uint32_t total_sec = ms / 1000;
    uint32_t minutes = total_sec / 60;
    uint32_t seconds = total_sec % 60;
    //uint32_t centis = (ms % 1000) / 10;

    snprintf(buf, len, "%u:%02u", minutes, seconds);
//.%02u
}

static void disp_set_time(uint64_t total_s, uint64_t current_lap_s)
{
    char buf_time[16];
    format_mmss(buf_time, sizeof(buf_time), total_s);
    lv_textarea_set_text(objects.total_time_area, buf_time);

    format_mmss(buf_time, sizeof(buf_time), current_lap_s);
    lv_textarea_set_text(objects.lap_time_area, buf_time);
}

static void disp_set_lap_number(uint8_t lap_number)
{
    char buf_lap_num[20];

    sprintf(buf_lap_num, "%u", lap_number);
    lv_textarea_set_text(objects.lap_number_area, buf_lap_num);
}

static void start_time_measurement()
{
    uint64_t now = k_uptime_get();

    time_g.measurement_running = true;
    lap_counter = 1;

    time_g.race_start_ms = now;
    time_g.lap_start_ms = now;

    time_g.total_ms = 0;
    time_g.current_lap_ms = 0;
    time_g.lap_duration_ms = 0;

    time_g.lap_start_s = 0;

    LOG_INF("Time measuring started");
    //disp_update_gui();
}

void next_lap_time_measurement()
{
    uint64_t now = k_uptime_get();

    if (!time_g.measurement_running) {
        start_time_measurement();
        return;
    }

    time_g.lap_duration_ms = now - time_g.lap_start_ms;

    if (lap_counter <= MAX_LAPS) {
        time_g.laps_duration_ms[lap_counter - 1] = time_g.lap_duration_ms;
    }

    if (lap_counter < MAX_LAPS) {
        lap_counter++;
    }
    //char buf[16];
    //format_mmss(buf, sizeof(buf), lap_ms);
    //lv_label_set_text(label_last_lap, buf);
    time_g.lap_start_ms = now;
    time_g.lap_start_s = (uint32_t)((now - time_g.race_start_ms) / 1000);

    LOG_INF("Lap %u", lap_counter);

    //disp_update_gui();
}

void reset_time_measurements()
{
    lap_counter = 0;
    memset(&time_g, 0, sizeof(time_g));
    //disp_update_gui();
    LOG_INF("Reset all");
    //lv_label_set_text(label_total, "00:00");
    //lv_label_set_text(label_lap, "00:00");
    //lv_label_set_text(label_last_lap, "--:--");
}

static void disp_set_vehicle_speed(uint16_t speed)
{
    char buffer_speed[20];
	speed /= 100;
	speed *= 3;

    sprintf(buffer_speed, "%u", speed);
    // lv_meter_set_indicator_value(objects.speed_meter, indicator1, speed);
    lv_textarea_set_text(objects.speed_area, buffer_speed);
}

static void disp_set_sc_voltage(uint16_t supercap_voltage)
{
    char buffer_sc_voltage[20];
	//voltage /= 1000;
	uint16_t voltage = supercap_voltage / 1000;
	uint16_t voltage_dec_part = supercap_voltage %= 1000;
    lv_bar_set_value(objects.sc_voltage_bar, voltage, LV_ANIM_ON);
    sprintf(buffer_sc_voltage, "%u.%.2u V", voltage, voltage_dec_part);
    lv_label_set_text(objects.sc_voltage, buffer_sc_voltage);
    if (voltage <= 40)
    {
        lv_obj_set_style_bg_color(
            objects.sc_voltage_bar, my_color_hex(ERROR_COLOR), LV_PART_INDICATOR | LV_STATE_DEFAULT);
    }
    else
    {
        lv_obj_set_style_bg_color(
            objects.sc_voltage_bar, my_color_hex(OK_COLOR), LV_PART_INDICATOR | LV_STATE_DEFAULT);
    }
}

static void disp_set_message(char* msg, uint32_t color)
{
    lv_obj_set_style_bg_color(objects.messages_area, my_color_hex(color), LV_PART_MAIN | LV_STATE_DEFAULT);
    lv_textarea_set_text(objects.messages_area, msg);
}

void disp_update_gui()
{
    uint64_t now = k_uptime_get();

    const char *fault_msg = NULL;

    time_g.total_ms = 0;
    time_g.total_s = 0;

    time_g.current_lap_ms = 0;
    time_g.current_lap_s = 0;

    display_data_t data = { 0 };

    k_mutex_lock(&can_data_mutex, K_FOREVER);
    data = display_data;
    k_mutex_unlock(&can_data_mutex);

    if (time_g.measurement_running) {
        time_g.total_ms = now - time_g.race_start_ms;
        time_g.current_lap_ms = now - time_g.lap_start_ms;

        time_g.total_s = (uint32_t)(time_g.total_ms / 1000);

        if (time_g.total_s >= time_g.lap_start_s) {
            time_g.current_lap_s = time_g.total_s - time_g.lap_start_s;
        } else {
            time_g.current_lap_s = 0;
        }
    }

    fault_msg = mcu_faults_get_message(&data.mcu_faults);

    disp_set_time(time_g.total_s, time_g.current_lap_s);
    disp_set_lap_number(lap_counter);
    disp_set_vehicle_speed(data.speed_kph);
    disp_set_sc_voltage(data.sc_voltage);

    if (fault_msg != NULL) {
        disp_set_message((char *)fault_msg, ERROR_COLOR);
    } else {
        disp_set_message("EVERYTHING OK - NO FAULTS", OK_COLOR);
    }
}

static void swu_display_thread(void *p1, void *p2, void *p3) {

    ARG_UNUSED(p1);
    ARG_UNUSED(p2);
    ARG_UNUSED(p3);
    LOG_INF("Display thread started");

    while (1) {
        if(time_measurement_request == START){
            next_lap_time_measurement();
            time_measurement_request = IDLE;
        }
        if(time_measurement_request == RESET_){
            reset_time_measurements();
            time_measurement_request = IDLE;
        }
        disp_update_gui();
        lv_timer_handler();
        k_msleep(10);
    }
}

static void ili9341_apply_orientation_workaround()
{
#if VEHICLE_TYPE == HYDRA
    const uint8_t madctl = ILI9341_MADCTL_MV;
#else
    const uint8_t madctl = ILI9341_MADCTL_MV | ILI9341_MADCTL_MX | ILI9341_MADCTL_MY;
#endif
    int ret;

    if (!device_is_ready(display_dbi)) {
        LOG_ERR("Display DBI is not ready");
        return;
    }

    ret = mipi_dbi_command_write(
        display_dbi, &display_dbi_config, ILI9341_CMD_MADCTL, &madctl, sizeof(madctl));
    if (ret < 0) {
        LOG_ERR("Failed to apply ILI9341 orientation workaround: %d", ret);
    }
}

void swu_display_init()
{
    const struct device *display = DEVICE_DT_GET(DT_CHOSEN(zephyr_display));

    if (!device_is_ready(display)) {
        LOG_ERR("Display is not ready");
        return;
    }

    display_blanking_off(display);
    ili9341_apply_orientation_workaround();
    ui_init();
    //lv_timer_create(ui_timer_cb, 100, NULL);

    k_tid_t display_tid = k_thread_create(
        &swu_display_thread_data,
        swu_display_thread_stack_area,
        K_THREAD_STACK_SIZEOF(swu_display_thread_stack_area),
        swu_display_thread,
        NULL,
        NULL,
        NULL,
        SWU_DISPLAY_THREAD_PRIORITY,
        0,
        K_NO_WAIT
    );
    k_thread_name_set(display_tid, "display");

    LOG_INF("Display initialized");
}
```

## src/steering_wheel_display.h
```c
//
// Created by User on 02.04.2026.
//

#ifndef STEERING_WHEEL_DISPLAY_H
#define STEERING_WHEEL_DISPLAY_H

#include <lvgl.h>
#include "ui.h"
#include <zephyr/logging/log.h>
#include "steering_wheel_inputs.h"
#include "steering_wheel_can.h"

#define MAX_LAPS 50

typedef struct
{
    uint64_t total_ms;
    uint64_t total_s;
    uint64_t current_lap_ms;
    uint64_t current_lap_s;
    uint64_t race_start_ms;
    uint64_t lap_start_ms;
    uint64_t lap_start_s;
    uint64_t laps_duration_ms[MAX_LAPS];
    uint64_t lap_duration_ms;
    bool measurement_running;
} time_t;

typedef enum
{
    START,
    IDLE,
    RESET_,
}time_measurement_request_t;

typedef struct
{
    uint16_t speed_kph;
    uint16_t sc_voltage;
    struct candef_mcu_faults_t mcu_faults;
}display_data_t;

extern display_data_t display_data;
extern volatile time_measurement_request_t time_measurement_request;
extern uint32_t lap_counter;
extern time_t time_g;
void reset_time_measurements();
void next_lap_time_measurement();
void disp_update_gui();
void swu_display_init();



#endif //STEERING_WHEEL_DISPLAY_H
```

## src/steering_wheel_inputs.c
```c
//
// Created by Dawid Pisarczyk on 28.12.2025.
//

#include "steering_wheel_inputs.h"

LOG_MODULE_REGISTER(steering_wheel_inputs);

K_MUTEX_DEFINE(mcu_inputs_mutex);

swu_button_t button = {
    .emergency = GPIO_DT_SPEC_GET(BUTTON_EMERGENCY_NODE, gpios),
    .deadman = GPIO_DT_SPEC_GET(BUTTON_DEADMAN_NODE, gpios),
    .start = GPIO_DT_SPEC_GET(BUTTON_START_NODE, gpios),
    .reset = GPIO_DT_SPEC_GET(BUTTON_RESET_NODE, gpios),

#if VEHICLE_TYPE == HYDRA
    .pedals_calib = GPIO_DT_SPEC_GET(BUTTON_PEDALS_CALIB_NODE, gpios),
    .light_hazard = GPIO_DT_SPEC_GET(BUTTON_LIGHT_HAZARD_NODE, gpios),
    .light_beam = GPIO_DT_SPEC_GET(BUTTON_LIGHT_BEAM_NODE, gpios),
    .light_position = GPIO_DT_SPEC_GET(BUTTON_LIGHT_POSITION_NODE, gpios),
    .light_right_indicator = GPIO_DT_SPEC_GET(BUTTON_LIGHT_RIGHT_INDICATOR_NODE, gpios),
    .light_left_indicator = GPIO_DT_SPEC_GET(BUTTON_LIGHT_LEFT_INDICATOR_NODE, gpios),
#endif
};

struct candef_swu_mcu_inputs_t mcu_inputs_state = {
    .emergency_switch = BUTTON_RELEASED,
    .dead_mans_switch = BUTTON_RELEASED,
    .leakage_detected = 0,
    .shell_relay = 0,
    .start_button = BUTTON_RELEASED,
    .reset_button = BUTTON_RELEASED,
    .calibration_button = BUTTON_RELEASED,
};

struct candef_swu_lcu_inputs_t lcu_inputs_state = { 0 };

static int check_button_gpios_ready()
{
    if (!gpio_is_ready_dt(&button.emergency)) {
        LOG_ERR("Emergency button GPIO not ready");
        return -ENODEV;
    }

    if (!gpio_is_ready_dt(&button.deadman)) {
        LOG_ERR("Deadman button GPIO not ready");
        return -ENODEV;
    }

    if (!gpio_is_ready_dt(&button.start)) {
        LOG_ERR("Start button GPIO not ready");
        return -ENODEV;
    }

    if (!gpio_is_ready_dt(&button.reset)) {
        LOG_ERR("Reset button GPIO not ready");
        return -ENODEV;
    }

#if VEHICLE_TYPE == HYDRA
    if (!gpio_is_ready_dt(&button.pedals_calib)) {
        LOG_ERR("Pedals calib button GPIO not ready");
        return -ENODEV;
    }

    if (!gpio_is_ready_dt(&button.light_hazard)) {
        LOG_ERR("Light hazard button GPIO not ready");
        return -ENODEV;
    }

    if (!gpio_is_ready_dt(&button.light_beam)) {
        LOG_ERR("Light beam button GPIO not ready");
        return -ENODEV;
    }

    if (!gpio_is_ready_dt(&button.light_position)) {
        LOG_ERR("Light position button GPIO not ready");
        return -ENODEV;
    }

    if (!gpio_is_ready_dt(&button.light_right_indicator)) {
        LOG_ERR("Light right indicator button GPIO not ready");
        return -ENODEV;
    }

    if (!gpio_is_ready_dt(&button.light_left_indicator)) {
        LOG_ERR("Light left indicator button GPIO not ready");
        return -ENODEV;
    }
#endif

    return 0;
}

static uint8_t input_value_to_button_state(int32_t value)
{
    return value ? BUTTON_PRESSED : BUTTON_RELEASED;
}

void read_all_buttons_from_gpio()
{
    int32_t button_state;

    k_mutex_lock(&mcu_inputs_mutex, K_FOREVER);

    button_state = gpio_pin_get_dt(&button.emergency);
    if (button_state >= 0) {
        mcu_inputs_state.emergency_switch = input_value_to_button_state(button_state);
    }

    button_state = gpio_pin_get_dt(&button.deadman);
    if (button_state >= 0) {
        mcu_inputs_state.dead_mans_switch = input_value_to_button_state(button_state);
    }

    button_state = gpio_pin_get_dt(&button.start);
    if (button_state >= 0) {
        mcu_inputs_state.start_button = input_value_to_button_state(button_state);
    }

    button_state = gpio_pin_get_dt(&button.reset);
    if (button_state >= 0) {
        mcu_inputs_state.reset_button = input_value_to_button_state(button_state);
    }

#if VEHICLE_TYPE == HYDRA
    button_state = gpio_pin_get_dt(&button.pedals_calib);
    if (button_state >= 0) {
        mcu_inputs_state.calibration_button = input_value_to_button_state(button_state);
    }

    button_state = gpio_pin_get_dt(&button.light_hazard);
    if (button_state >= 0) {
        lcu_inputs_state.hazard = input_value_to_button_state(button_state);
    }

    button_state = gpio_pin_get_dt(&button.light_beam);
    if (button_state >= 0) {
        lcu_inputs_state.beam = input_value_to_button_state(button_state);
    }

    button_state = gpio_pin_get_dt(&button.light_position);
    if (button_state >= 0) {
        lcu_inputs_state.position = input_value_to_button_state(button_state);
    }

    button_state = gpio_pin_get_dt(&button.light_right_indicator);
    if (button_state >= 0) {
        lcu_inputs_state.right_indicator = input_value_to_button_state(button_state);
    }

    button_state = gpio_pin_get_dt(&button.light_left_indicator);
    if (button_state >= 0) {
        lcu_inputs_state.left_indicator = input_value_to_button_state(button_state);
    }
#endif

    k_mutex_unlock(&mcu_inputs_mutex);
}

static bool check_button_state(uint8_t *old_state, uint8_t new_state)
{
    if (*old_state == new_state) {
        return false;
    }

    *old_state = new_state;
    return true;
}

static bool update_buttons_states(uint16_t code, uint8_t state)
{
    bool button_state_changed = false;

    k_mutex_lock(&mcu_inputs_mutex, K_FOREVER);

    switch (code) {

    case INPUT_KEY_0:
        break;

    case INPUT_KEY_1:
        button_state_changed = check_button_state(&mcu_inputs_state.reset_button, state);
        break;

    case INPUT_KEY_2:
        button_state_changed = check_button_state(&mcu_inputs_state.start_button, state);
        break;

    case INPUT_KEY_3:
        button_state_changed = check_button_state(&mcu_inputs_state.emergency_switch, state);
        break;

    case INPUT_KEY_4:
        button_state_changed = check_button_state(&mcu_inputs_state.dead_mans_switch, state);
        break;

    case INPUT_KEY_5:
        button_state_changed = check_button_state(&mcu_inputs_state.calibration_button, state);
        break;

    case INPUT_KEY_6:
        break;

    default:
        break;
    }

    k_mutex_unlock(&mcu_inputs_mutex);

    return button_state_changed;
}

static bool update_lcu_button_states(uint16_t code, uint8_t state)
{
    bool button_state_changed = false;

#if VEHICLE_TYPE == HYDRA
    k_mutex_lock(&mcu_inputs_mutex, K_FOREVER);

    switch (code) {

    case INPUT_KEY_7:
        button_state_changed = check_button_state(&lcu_inputs_state.hazard, state);
        break;

    case INPUT_KEY_8:
        button_state_changed = check_button_state(&lcu_inputs_state.beam, state);
        break;

    case INPUT_KEY_9:
        button_state_changed = check_button_state(&lcu_inputs_state.position, state);
        break;

    case INPUT_KEY_B:
        button_state_changed = check_button_state(&lcu_inputs_state.right_indicator, state);
        break;

    case INPUT_KEY_C:
        button_state_changed = check_button_state(&lcu_inputs_state.left_indicator, state);
        break;

    default:
        break;
    }

    k_mutex_unlock(&mcu_inputs_mutex);
#else
    ARG_UNUSED(code);
    ARG_UNUSED(state);
#endif

    return button_state_changed;
}

static void input_cb(struct input_event *evt, void *user_data)
{
    ARG_UNUSED(user_data);

    if (evt->type != INPUT_EV_KEY) {
        return;
    }

    if (evt->value == 1) {
        switch (evt->code) {
        case INPUT_KEY_A:
            LOG_INF("short press");
            time_measurement_request = START;
            return;

        case INPUT_KEY_X:
            LOG_INF("long press");
            time_measurement_request = RESET_;
            return;

        default:
            break;
        }
    }
    if (evt->value != 0 && evt->value != 1) {
        return;
    }

    uint8_t state = input_value_to_button_state(evt->value);

    bool button_state_changed = update_buttons_states(evt->code, state);
    button_state_changed |= update_lcu_button_states(evt->code, state);

    if (button_state_changed) {
        LOG_INF("Input changed: code=%u button_state=%u", evt->code, state);
        swu_can_request_tx();
    }
}

INPUT_CALLBACK_DEFINE(NULL, input_cb, NULL);


void swu_inputs_init()
{

    if (check_button_gpios_ready() < 0){
        return;
    }

    read_all_buttons_from_gpio();

    LOG_INF("MCU inputs initialized");
}
```

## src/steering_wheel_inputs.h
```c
//
// Created by Dawid Pisarczyk on 28.12.2025.
//

#ifndef STEERING_WHEEL_INPUTS_H
#define STEERING_WHEEL_INPUTS_H

#include <zephyr/kernel.h>
#include <zephyr/device.h>
#include <zephyr/logging/log.h>
#include <zephyr/drivers/display.h>
#include <zephyr/input/input.h>
#include <zephyr/dt-bindings/input/input-event-codes.h>
#include <lvgl.h>
#include "gpio.h"
#include "can.h"
#include "can_ids.h"
#include "ui.h"
#include "steering_wheel_display.h"
#include "steering_wheel_can.h"

#define BUTTON_EMERGENCY_NODE     DT_NODELABEL(button_emergency)
#define BUTTON_DEADMAN_NODE       DT_NODELABEL(button_deadman)
#define BUTTON_START_NODE         DT_NODELABEL(button_start)
#define BUTTON_RESET_NODE         DT_NODELABEL(button_reset)
#define BUTTON_LAP_TIME_NODE      DT_NODELABEL(button_lap_time)
#define BUTTON_PEDALS_CALIB_NODE  DT_NODELABEL(button_pedals_calib)
#define BUTTON_TEST_NODE          DT_NODELABEL(button_test)
#define BUTTON_LIGHT_HAZARD_NODE  DT_NODELABEL(button_light_hazard)
#define BUTTON_LIGHT_BEAM_NODE    DT_NODELABEL(button_light_beam)
#define BUTTON_LIGHT_POSITION_NODE DT_NODELABEL(button_light_position)
#define BUTTON_LIGHT_RIGHT_INDICATOR_NODE DT_NODELABEL(button_light_right_indicator)
#define BUTTON_LIGHT_LEFT_INDICATOR_NODE DT_NODELABEL(button_light_left_indicator)

/*
 * button logic:
 * 0 = button released / inactive state
 * 1 = button pressed / active state
 */
typedef enum {
    BUTTON_RELEASED = 0,
    BUTTON_PRESSED  = 1,
} button_state_t;

typedef struct {
    struct gpio_dt_spec emergency;
    struct gpio_dt_spec deadman;
    struct gpio_dt_spec start;
    struct gpio_dt_spec reset;
    struct gpio_dt_spec pedals_calib;
#if VEHICLE_TYPE == HYDRA
    struct gpio_dt_spec light_hazard;
    struct gpio_dt_spec light_beam;
    struct gpio_dt_spec light_position;
    struct gpio_dt_spec light_right_indicator;
    struct gpio_dt_spec light_left_indicator;
#endif
}swu_button_t;

extern struct k_mutex mcu_inputs_mutex;
extern swu_button_t button;
extern struct candef_swu_mcu_inputs_t mcu_inputs_state;
extern struct candef_swu_lcu_inputs_t lcu_inputs_state;

void read_all_buttons_from_gpio();
void swu_inputs_init();

#define HYDROS 0
#define HYDRA  1

#endif //STEERING_WHEEL_INPUTS_H
```
